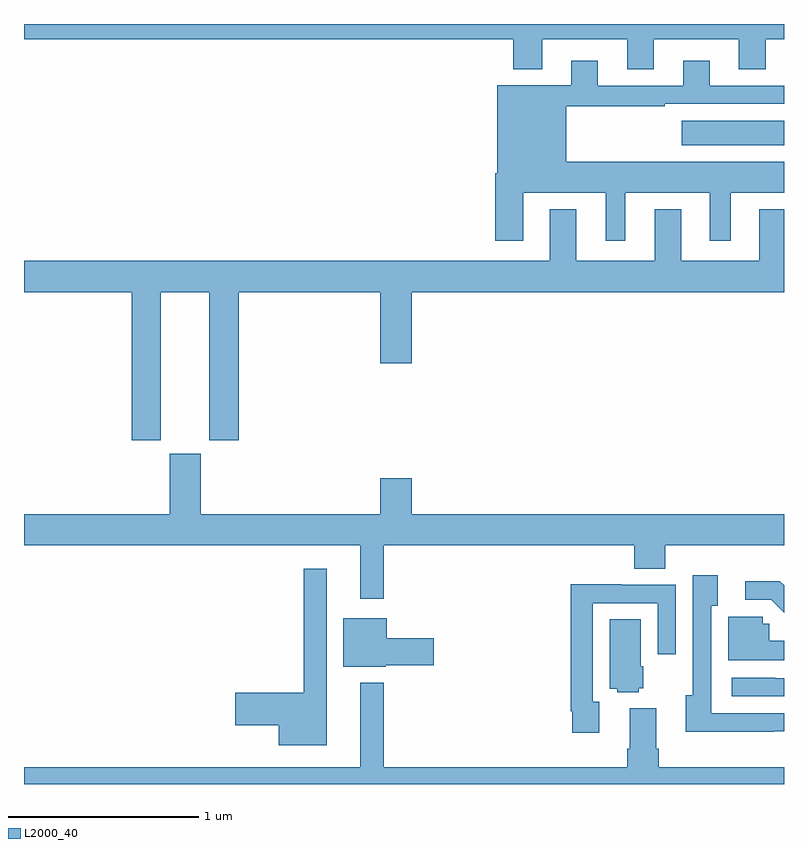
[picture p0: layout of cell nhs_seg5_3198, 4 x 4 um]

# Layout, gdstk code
import gdstk
lib = gdstk.Library(unit=1e-6, precision=1e-09)
def R(c, l, rs):  # rectangles x0, y0, x1, y1
    for r in rs: c.add(gdstk.rectangle(r[:2], r[2:], *l))
def P(c, l, *ps):  # polygons
    for p in ps: c.add(gdstk.Polygon(p, *l))
L2000_40 = (2000, 40)

nhs_seg5_3198 = lib.new_cell('nhs_seg5_3198')
R(nhs_seg5_3198, L2000_40, [(298.461,896.162,299,896.29)])
P(nhs_seg5_3198, L2000_40, [(298.315,896.72),(298.763,896.72),(298.763,896.56),(298.903,896.56),(298.903,896.72),(299,896.72),(299,896.799),(295,896.799),(295,896.72),(297.575,896.72),(297.575,896.561),(297.727,896.561),(297.727,896.72),(298.175,896.72),(298.175,896.56),(298.315,896.56)],
  [(297.628,895.91),(298.061,895.91),(298.061,895.659),(298.165,895.659),(298.165,895.91),(298.61,895.91),(298.61,895.659),(298.72,895.659),(298.72,895.91),(299,895.91),(299,896.074),(297.853,896.074),(297.853,896.367),(298.373,896.367),(298.373,896.379),(299,896.379),(299,896.475),(298.609,896.475),(298.609,896.605),(298.469,896.605),(298.469,896.475),(298.021,896.475),(298.021,896.605),(297.881,896.605),(297.881,896.476),(297.491,896.476),(297.491,896.014),(297.479,896.014),(297.479,895.659),(297.628,895.659)],
  [(299,895.825),(298.871,895.825),(298.871,895.552),(298.459,895.552),(298.459,895.825),(298.319,895.825),(298.319,895.552),(297.907,895.552),(297.907,895.825),(297.767,895.825),(297.767,895.552),(295,895.552),(295,895.388),(295.568,895.388),(295.568,894.609),(295.72,894.609),(295.72,895.388),(295.976,895.388),(295.976,894.609),(296.129,894.609),(296.129,895.388),(296.876,895.388),(296.876,895.014),(297.04,895.014),(297.04,895.388),(299,895.388)],
  [(296.893,894.056),(298.211,894.056),(298.211,893.932),(298.376,893.932),(298.376,894.056),(299,894.056),(299,894.22),(297.04,894.22),(297.04,894.409),(296.876,894.409),(296.876,894.22),(295.93,894.22),(295.93,894.537),(295.766,894.537),(295.766,894.22),(295,894.22),(295,894.056),(296.771,894.056),(296.771,893.775),(296.893,893.775)],
  [(296.593,893.932),(296.472,893.932),(296.472,893.279),(296.112,893.279),(296.112,893.108),(296.342,893.108),(296.342,893.003),(296.593,893.003)],
  [(298.949,893.076),(299,893.076),(299,893.172),(298.617,893.172),(298.617,893.738),(298.651,893.738),(298.651,893.899),(298.521,893.899),(298.521,893.266),(298.484,893.266),(298.484,893.075),(298.949,893.075)],
  [(299,893.845),(298.978,893.867),(298.797,893.867),(298.797,893.769),(298.932,893.769),(299,893.701)],
  [(298.027,893.231),(297.993,893.231),(297.993,893.751),(298.335,893.751),(298.335,893.481),(298.431,893.481),(298.431,893.847),(298.147,893.847),(298.147,893.851),(297.877,893.851),(297.877,893.182),(297.885,893.182),(297.885,893.07),(298.027,893.07)],
  [(299,893.554),(298.923,893.554),(298.923,893.643),(298.887,893.643),(298.887,893.679),(298.706,893.679),(298.706,893.451),(299,893.451)],
  [(296.904,893.423),(297.157,893.423),(297.157,893.565),(296.908,893.565),(296.908,893.671),(296.681,893.671),(296.681,893.417),(296.904,893.417)],
  [(298.236,893.304),(298.258,893.304),(298.258,893.418),(298.246,893.418),(298.246,893.666),(298.082,893.666),(298.082,893.3),(298.122,893.3),(298.122,893.282),(298.236,893.282)],
  [(299,893.355),(298.955,893.355),(298.955,893.358),(298.725,893.358),(298.725,893.262),(299,893.262)],
  [(299,892.888),(298.34,892.888),(298.34,892.984),(298.327,892.984),(298.327,893.197),(298.187,893.197),(298.187,892.984),(298.175,892.984),(298.175,892.888),(296.893,892.888),(296.893,893.332),(296.771,893.332),(296.771,892.888),(295,892.888),(295,892.799),(299,892.799)])

lib.write_gds('nhs_seg5_3198.gds')
